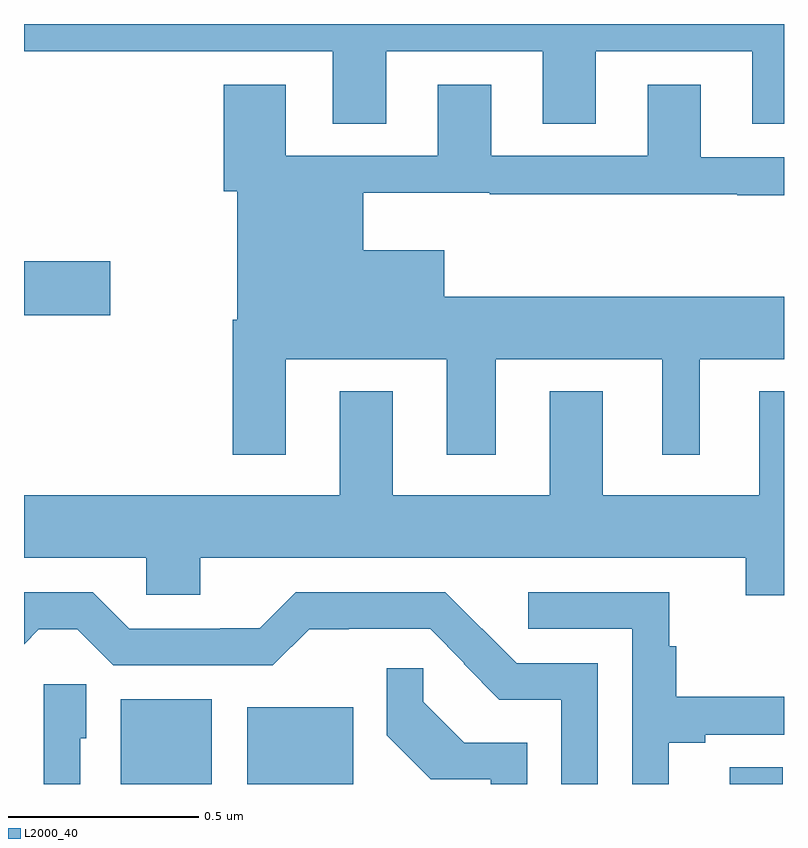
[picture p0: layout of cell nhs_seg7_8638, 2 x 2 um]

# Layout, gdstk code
import gdstk
lib = gdstk.Library(unit=1e-6, precision=1e-09)
def R(c, l, rs):  # rectangles x0, y0, x1, y1
    for r in rs: c.add(gdstk.rectangle(r[:2], r[2:], *l))
def P(c, l, *ps):  # polygons
    for p in ps: c.add(gdstk.Polygon(p, *l))
L2000_40 = (2000, 40)

nhs_seg7_8638 = lib.new_cell('nhs_seg7_8638')
R(nhs_seg7_8638, L2000_40, [(227.255,1020,227.494,1020.223), (227.588,1020,227.866,1020.202), (228.857,1020,228.997,1020.044), (227,1021.234,227.227,1021.376)])
P(nhs_seg7_8638, L2000_40, [(227.953,1021.928),(228.365,1021.928),(228.365,1021.738),(228.505,1021.738),(228.505,1021.928),(228.917,1021.928),(228.917,1021.738),(229,1021.738),(229,1022),(227,1022),(227,1021.928),(227.813,1021.928),(227.813,1021.738),(227.953,1021.738)],
  [(227.689,1021.118),(228.113,1021.118),(228.113,1020.867),(228.241,1020.867),(228.241,1021.118),(228.68,1021.118),(228.68,1020.867),(228.778,1020.867),(228.778,1021.118),(229,1021.118),(229,1021.282),(228.106,1021.282),(228.106,1021.405),(227.893,1021.405),(227.893,1021.556),(228.225,1021.556),(228.225,1021.552),(228.877,1021.552),(228.877,1021.55),(229,1021.55),(229,1021.65),(228.781,1021.65),(228.781,1021.84),(228.641,1021.84),(228.641,1021.653),(228.229,1021.653),(228.229,1021.84),(228.089,1021.84),(228.089,1021.653),(227.689,1021.653),(227.689,1021.84),(227.525,1021.84),(227.525,1021.56),(227.561,1021.56),(227.561,1021.222),(227.549,1021.222),(227.549,1020.867),(227.689,1020.867)],
  [(229,1021.033),(228.935,1021.033),(228.935,1020.76),(228.523,1020.76),(228.523,1021.033),(228.383,1021.033),(228.383,1020.76),(227.971,1020.76),(227.971,1021.033),(227.831,1021.033),(227.831,1020.76),(227,1020.76),(227,1020.596),(227.322,1020.596),(227.322,1020.498),(227.464,1020.498),(227.464,1020.596),(228.899,1020.596),(228.899,1020.497),(229,1020.497)],
  [(228.51,1020.318),(228.297,1020.318),(228.206,1020.409),(228.205,1020.408),(228.109,1020.504),(227.715,1020.504),(227.621,1020.41),(227.516,1020.41),(227.516,1020.408),(227.277,1020.408),(227.181,1020.504),(227,1020.504),(227,1020.368),(227.039,1020.407),(227.14,1020.407),(227.235,1020.312),(227.655,1020.312),(227.75,1020.407),(227.854,1020.407),(227.854,1020.408),(228.069,1020.408),(228.159,1020.318),(228.157,1020.316),(228.251,1020.222),(228.414,1020.222),(228.414,1020),(228.51,1020)],
  [(228.697,1020.109),(228.793,1020.109),(228.793,1020.129),(229,1020.129),(229,1020.23),(228.716,1020.23),(228.716,1020.362),(228.698,1020.362),(228.698,1020.504),(228.327,1020.504),(228.327,1020.408),(228.6,1020.408),(228.6,1020),(228.697,1020)],
  [(228.324,1020.108),(228.158,1020.108),(228.05,1020.216),(228.05,1020.304),(227.955,1020.304),(227.955,1020.128),(228.071,1020.012),(228.228,1020.012),(228.228,1020),(228.324,1020)],
  [(227.148,1020.12),(227.164,1020.12),(227.164,1020.263),(227.052,1020.263),(227.052,1020),(227.148,1020)])

lib.write_gds('nhs_seg7_8638.gds')
